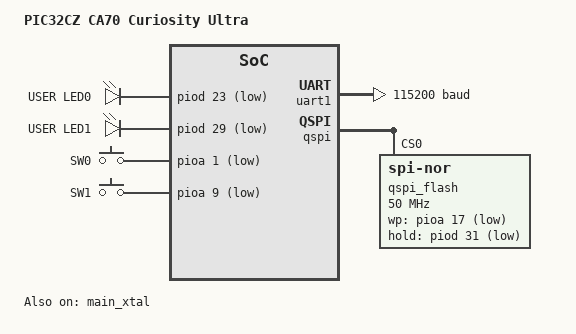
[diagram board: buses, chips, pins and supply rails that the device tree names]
/*
 * SPDX-FileCopyrightText: Copyright The Zephyr Project Contributors
 *
 * SPDX-License-Identifier: Apache-2.0
 */

/dts-v1/;
#include <microchip/pic32c/pic32cz_ca/pic32cz_ca70/pic32cz2051ca70144.dtsi>
#include "pic32cz_ca70_cult-pinctrl.dtsi"
#include <zephyr/dt-bindings/input/input-event-codes.h>

/ {
	compatible = "microchip,pic32cz_ca70_cult", "microchip,pic32cz2051ca70144";
	model = "PIC32CZ CA70 Curiosity Ultra";

	chosen {
		zephyr,sram = &sram0;
		zephyr,flash = &flash0;
		zephyr,console = &uart1;
		zephyr,shell-uart = &uart1;
	};

	aliases {
		led0 = &led0;
		led1 = &led1;
		sw0 = &button0;
		sw1 = &button1;
	};

	leds {
		compatible = "gpio-leds";

		led0: led_0 {
			gpios = <&piod 23 GPIO_ACTIVE_LOW>;
			label = "USER LED0";
		};

		led1: led_1 {
			gpios = <&piod 29 GPIO_ACTIVE_LOW>;
			label = "USER LED1";
		};
	};

	gpio_keys {
		compatible = "gpio-keys";

		button0: button_0 {
			gpios = <&pioa 1 (GPIO_ACTIVE_LOW | GPIO_PULL_UP)>;
			label = "SW0";
			zephyr,code = <INPUT_KEY_0>;
		};

		button1: button_1 {
			gpios = <&pioa 9 (GPIO_ACTIVE_LOW | GPIO_PULL_UP)>;
			label = "SW1";
			zephyr,code = <INPUT_KEY_1>;
		};
	};
};

&cpu0 {
	clock-frequency = <300000000>;
};

/* 12 MHz crystal Y300 on XIN/XOUT (PB9/PB8). */
&main_xtal {
	clock-frequency = <12000000>;
	status = "okay";
};

/* PLLA = 12 MHz * 25 = 300 MHz, processor clock 300 MHz, MCK 150 MHz. */
&pmc {
	microchip,plla-mul = <25>;
	microchip,plla-div = <1>;
	microchip,mck-prescaler = <1>;
	microchip,mck-divider = <2>;
};

&uart1 {
	current-speed = <115200>;
	pinctrl-0 = <&uart1_default>;
	pinctrl-names = "default";
	status = "okay";
};

/* SST26VF032B (U601) on the QSPI lines, used as a single-line SPI flash. */
&qspi {
	pinctrl-0 = <&qspi_default>;
	pinctrl-names = "default";
	status = "okay";

	qspi_flash: flash@0 {
		compatible = "jedec,spi-nor";
		reg = <0>;
		spi-max-frequency = <50000000>;
		size = <DT_SIZE_M(32)>;
		jedec-id = [bf 26 42];
		/*
		 * Basic Flash Parameters read from the device, with only the
		 * 4 KiB sector erase: block erase (D8h) erases 8, 32 or 64 KiB
		 * depending on the address, which the driver cannot handle.
		 */
		sfdp-bfp = [fd 20 f1 ff ff ff ff 01 44 eb 08 6b 08 3b 80 bb
			    fe ff ff ff ff ff 00 ff ff ff 44 0b 0c 20 00 00
			    00 00 00 00 20 91 48 24 80 6f 1d 81 ed 0f 77 38
			    30 b0 30 b0 f7 ff ff ff 29 c2 5c ff f0 30 c0 80];
		requires-ulbpr;
		use-fast-read;
		wp-gpios = <&pioa 17 GPIO_ACTIVE_LOW>;
		hold-gpios = <&piod 31 GPIO_ACTIVE_LOW>;
	};
};
